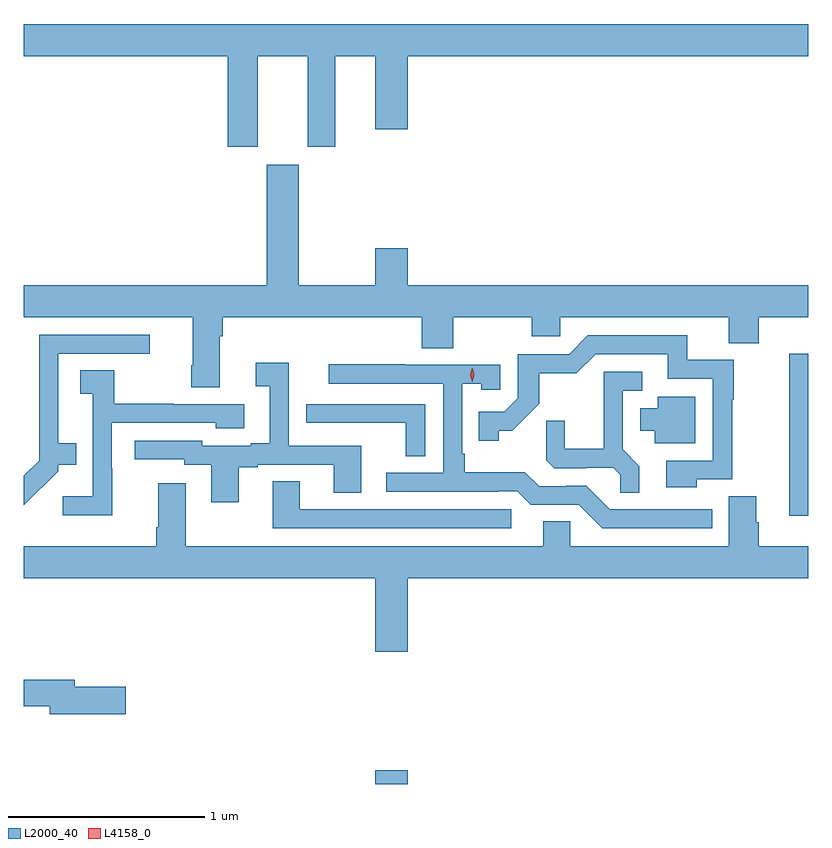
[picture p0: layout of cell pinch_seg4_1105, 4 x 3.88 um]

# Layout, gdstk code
import gdstk
lib = gdstk.Library(unit=1e-6, precision=1e-09)
def R(c, l, rs):  # rectangles x0, y0, x1, y1
    for r in rs: c.add(gdstk.rectangle(r[:2], r[2:], *l))
def P(c, l, *ps):  # polygons
    for p in ps: c.add(gdstk.Polygon(p, *l))
L2000_40 = (2000, 40)
L4158_0 = (4158, 0)

pinch_seg4_1105 = lib.new_cell('pinch_seg4_1105')
R(pinch_seg4_1105, L2000_40, [(440.732,798.435,440.896,798.505)])
P(pinch_seg4_1105, L2000_40, [(440.131,802.148),(440.387,802.148),(440.387,801.687),(440.527,801.687),(440.527,802.148),(440.732,802.148),(440.732,801.774),(440.896,801.774),(440.896,802.148),(442.939,802.148),(442.939,802.312),(438.939,802.312),(438.939,802.148),(439.979,802.148),(439.979,801.687),(440.131,801.687)],
  [(439.939,800.72),(439.952,800.72),(439.952,800.816),(440.969,800.816),(440.969,800.659),(441.129,800.659),(441.129,800.816),(441.529,800.816),(441.529,800.718),(441.675,800.718),(441.675,800.816),(442.535,800.816),(442.535,800.683),(442.688,800.683),(442.688,800.816),(442.939,800.816),(442.939,800.98),(440.896,800.98),(440.896,801.169),(440.732,801.169),(440.732,800.98),(440.341,800.98),(440.341,801.595),(440.177,801.595),(440.177,800.98),(438.939,800.98),(438.939,800.816),(439.799,800.816),(439.799,800.572),(439.792,800.572),(439.792,800.46),(439.939,800.46)],
  [(439.113,800.031),(439.113,800.063),(439.205,800.063),(439.205,800.173),(439.114,800.173),(439.114,800.631),(439.582,800.631),(439.582,800.727),(439.017,800.727),(439.017,800.085),(438.939,800.007),(438.939,799.857)],
  [(442.371,799.989),(442.553,799.989),(442.553,800.395),(442.561,800.395),(442.561,800.598),(442.322,800.598),(442.322,800.724),(441.816,800.724),(441.72,800.628),(441.459,800.628),(441.459,800.403),(441.39,800.334),(441.259,800.334),(441.259,800.187),(441.36,800.187),(441.36,800.237),(441.43,800.237),(441.568,800.374),(441.568,800.53),(441.757,800.53),(441.855,800.628),(442.223,800.628),(442.223,800.502),(442.452,800.502),(442.452,800.085),(442.215,800.085),(442.215,799.949),(442.371,799.949)],
  [(442.939,800.629),(442.843,800.629),(442.843,800.289),(442.844,800.289),(442.844,799.803),(442.939,799.803)],
  [(440.035,800.052),(440.131,800.052),(440.131,800.064),(440.519,800.064),(440.519,799.921),(440.659,799.921),(440.659,800.16),(440.289,800.16),(440.289,800.584),(440.121,800.584),(440.121,800.464),(440.192,800.464),(440.192,800.173),(440.096,800.173),(440.096,800.16),(439.848,800.16),(439.848,800.187),(439.503,800.187),(439.503,800.091),(439.758,800.091),(439.758,800.064),(439.895,800.064),(439.895,799.872),(440.035,799.872)],
  [(442.45,799.836),(441.927,799.836),(441.807,799.956),(441.706,799.956),(441.706,799.953),(441.567,799.953),(441.494,800.026),(441.187,800.026),(441.187,800.119),(441.174,800.119),(441.174,800.477),(441.273,800.477),(441.273,800.445),(441.369,800.445),(441.369,800.574),(440.885,800.574),(440.885,800.577),(440.493,800.577),(440.493,800.478),(441.078,800.478),(441.078,800.022),(440.787,800.022),(440.787,799.926),(441.356,799.926),(441.356,799.929),(441.456,799.929),(441.525,799.86),(441.768,799.86),(441.888,799.74),(442.45,799.74)],
  [(439.389,800.045),(439.386,800.045),(439.386,800.277),(439.917,800.277),(439.917,800.249),(440.062,800.249),(440.062,800.373),(439.703,800.373),(439.703,800.376),(439.399,800.376),(439.399,800.546),(439.227,800.546),(439.227,800.425),(439.29,800.425),(439.29,799.903),(439.137,799.903),(439.137,799.805),(439.389,799.805)],
  [(442.079,800.057),(441.993,800.143),(441.993,800.442),(442.093,800.442),(442.093,800.538),(441.896,800.538),(441.896,800.146),(441.698,800.146),(441.698,800.289),(441.604,800.289),(441.604,800.087),(441.645,800.046),(441.81,800.046),(441.81,800.049),(441.944,800.049),(441.981,800.012),(441.981,799.921),(442.079,799.921)],
  [(442.363,800.41),(442.172,800.41),(442.172,800.353),(442.082,800.353),(442.082,800.237),(442.157,800.237),(442.157,800.174),(442.363,800.174)],
  [(440.985,800.373),(440.379,800.373),(440.379,800.278),(440.491,800.278),(440.491,800.277),(440.887,800.277),(440.887,800.107),(440.985,800.107)],
  [(441.424,799.836),(440.347,799.836),(440.347,799.979),(440.207,799.979),(440.207,799.74),(441.424,799.74)],
  [(440.896,799.484),(442.939,799.484),(442.939,799.648),(442.688,799.648),(442.688,799.77),(442.675,799.77),(442.675,799.904),(442.535,799.904),(442.535,799.648),(441.726,799.648),(441.726,799.775),(441.587,799.775),(441.587,799.648),(439.765,799.648),(439.765,799.969),(439.625,799.969),(439.625,799.744),(439.613,799.744),(439.613,799.648),(438.939,799.648),(438.939,799.484),(440.732,799.484),(440.732,799.11),(440.896,799.11)],
  [(439.459,798.932),(439.198,798.932),(439.198,798.968),(438.939,798.968),(438.939,798.832),(439.07,798.832),(439.07,798.79),(439.459,798.79)])
P(pinch_seg4_1105, L4158_0, [(441.227,800.487),(441.227,800.487),(441.217,800.523),(441.227,800.559),(441.227,800.559),(441.227,800.559),(441.237,800.523),(441.227,800.487)])

lib.write_gds('pinch_seg4_1105.gds')
